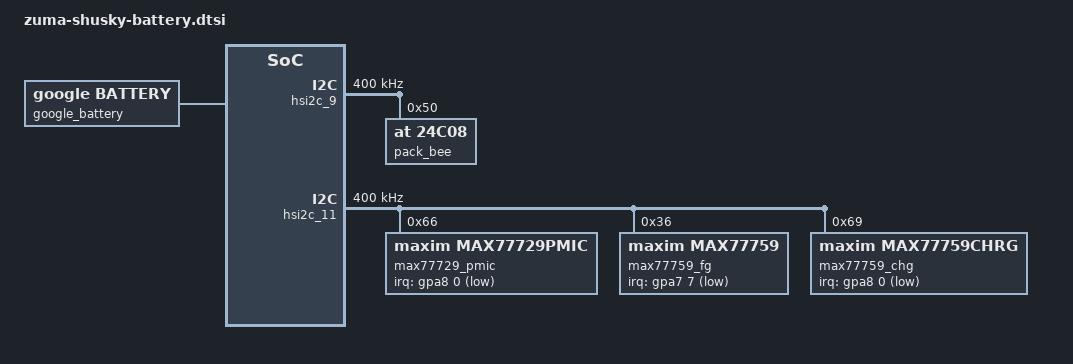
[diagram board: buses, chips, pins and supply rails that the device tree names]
// SPDX-License-Identifier: GPL-2.0-only
/*
 * Battery device tree entries specific to shusky
 *
 * Copyright 2022 Google LLC
 *
 */

#include <dt-bindings/interrupt-controller/irq.h>

/ {
	fragment@battery {
		target-path = "/";
		__overlay__ {

			google_battery: google,battery {
				status = "okay";
				compatible = "google,battery";
				google,fg-psy-name = "maxfg";
				/* simulate 1.2C charge: 4087 x 1.2 ~ 4905 (R4) */
				google,chg-battery-capacity = <4087>;

				/* charge table */
				google,chg-temp-limits = <0 100 200 420 460 480 550>;
				google,chg-cv-limits = <4200000 4300000 4350000 4480000>;

				google,ttf-temp-idx= <2>;
				google,ttf-adapter = <3000>;
				google,ttf-soc-table =  <73 77 82 85 88 90 95  100>;
				google,ttf-elap-table = <32 42 51 64 76 87 134 173>;
				google,ttf-tier-table = <0 74 83>;

				/* IRDrop Compensation */
				google,fv-uv-resolution = <10000>;
				/* NOTE: high value for DC charging */
				google,fv-uv-margin-dpct = <1025>;
				/* tier switch */
				google,cv-range-accuracy = <20000>;
				google,cv-otv-margin = <12000>;
				google,cv-debounce-cnt = <3>;
				google,cv-tier-ov-cnt = <10>;
				google,cv-tier-switch-cnt = <3>;

				google,eeprom-pairing;

				/* rest charging */
				google,chg-rest-rate = <15>;
				google,chg-rest-soc = <80>;
				/* TRICKLE-DEFEND threshold */
				google,bd-trickle-recharge-soc = <80>;
				/* Disable TRICKLE-DEFEND, b/259428308 */
				/* google,bd-trickle-enable; */
				/* Battery virtual sensor */
				google,batt-vs-tz-name = "batt_vs";

				/* record over temperature time */
				google,temp-record-thr = <300 350 400>;
				google,soc-record-thr = <90 90 95>;

				google,bhi-status-marginal = <79>;
				google,bhi-status-need-rep = <79>;
				google,bhi-cycle-grace = <200>;

				#thermal-sensor-cells = <0>;
				#cooling-cells = <2>;
				google,dc-irdrop;
			};

			google_bms {
				nvmem = <&pack_bee>;
				nvmem-names = "bms-pack-eeprom";
				/* pack eeprom is available only with P20+ batteries */
				google,bee-name = "bms-pack-eeprom";
			};

		};
	};
};

&pinctrl_0 {
/* [MAX77759: FG_INTB] > FG_INT_L > [XEINT_21 : SC59845XWE] */
	if_pmic_fg_irq: if-pmic-fg-irq {
		samsung,pins = "gpa7-7"; /* XEINT_21 */
		samsung,pin-function = <EXYNOS_PIN_FUNC_EINT>;
		samsung,pin-pud = <EXYNOS_PIN_PULL_UP>;
		samsung,pin-drv = <ZUMA_PIN_DRV_X1>;
	};
};

&pinctrl_0 {
/* [MAX77729FEWN : INTB] > IF_PMIC_IRQ_L > [XEINT_22 : SC59845XWE] */
	if_pmic_irq: if-pmic-irq {
		samsung,pins = "gpa8-0";
		samsung,pin-function = <EXYNOS_PIN_FUNC_EINT>;
		samsung,pin-pud = <EXYNOS_PIN_PULL_UP>;
		samsung,pin-drv = <ZUMA_PIN_DRV_X1>;
	};

};

&hsi2c11_bus {
	samsung,pins = "gpp21-0", "gpp21-1";
	samsung,pin-pud = <EXYNOS_PIN_PULL_NONE>;
	samsung,pin-con-pdn = <EXYNOS_PIN_PDN_PREV>;
	samsung,pin-pud-pdn = <EXYNOS_PIN_PULL_NONE>;
};

&hsi2c_9 {
	#address-cells = <1>;
	#size-cells = <0>;
	status = "okay";
	clock-frequency = <400000>;

	pinctrl-names = "default";
	pinctrl-0 = <&hsi2c9_bus>;

	pack_bee: m24c08@50 {
		status = "okay";
		compatible = "at,24c08";

		reg = <0x50>;
	};
};

&hsi2c_11 {

	#address-cells = <1>;
	#size-cells = <0>;
	status = "okay";
	clock-frequency = <400000>;

	/* also as max77759 pmic  */
	max77729_pmic:max77729pmic@66 {
		status = "okay";
		compatible = "maxim,max77729pmic";
		reg = <0x66>;

		pinctrl-names = "default";
		pinctrl-0 = <&if_pmic_irq>;
		max777x9,irq-gpio = <&gpa8 0 GPIO_ACTIVE_LOW>;

		max77759,max_m5 = <&max77759_fg>;

		max777x9_gpio: max777x9_gpio {
			gpio-controller;
			#gpio-cells = <2>;
			ngpios = <6>;

			interrupt-parent = <&gpa8>;
			interrupt-controller;
			#interrupt-cells = <2>;
			interrupts = <5 IRQ_TYPE_NONE>,
				     <6 IRQ_TYPE_NONE>;
		};
	};

	max77759_fg:max77759fg@36 {
		status = "okay";
		compatible = "maxim,max77759";
		reg = <0x36>;

		/* FG_INT_L -> XEINT_21 */
		pinctrl-names = "default";
		pinctrl-0 = <&if_pmic_fg_irq>;
		maxim,irq-gpio = <&gpa7 7 GPIO_ACTIVE_LOW>;

		maxim,gauge-type = <2>;
		maxim,rsense-default = <500>;
		maxim,batt-id-range-pct = <0>;

		maxim,psy-type-unknown;
		maxim,fg-data {
			#include "zuma/gs101-fake-battery-data.dtsi"
		};
	};

	max77759_chg:max77759chrg@69 {
		status = "okay";
		compatible = "maxim,max77759chrg";
		reg = <0x69>;

		interrupt-parent = <&gpa8>;
		max77759,irq-gpio = <&gpa8 0 GPIO_ACTIVE_LOW>;

		max77759,max_m5 = <&max77759_fg>;
		max77759,pmic = <&max77729_pmic>;

		max77759,chg-term-voltage = <4400>;

		#thermal-sensor-cells = <1>;

		max77759_gpio: max77759_gpio {
			gpio-controller;
			#gpio-cells = <2>;
			ngpios = <1>;
		};
	};

};
